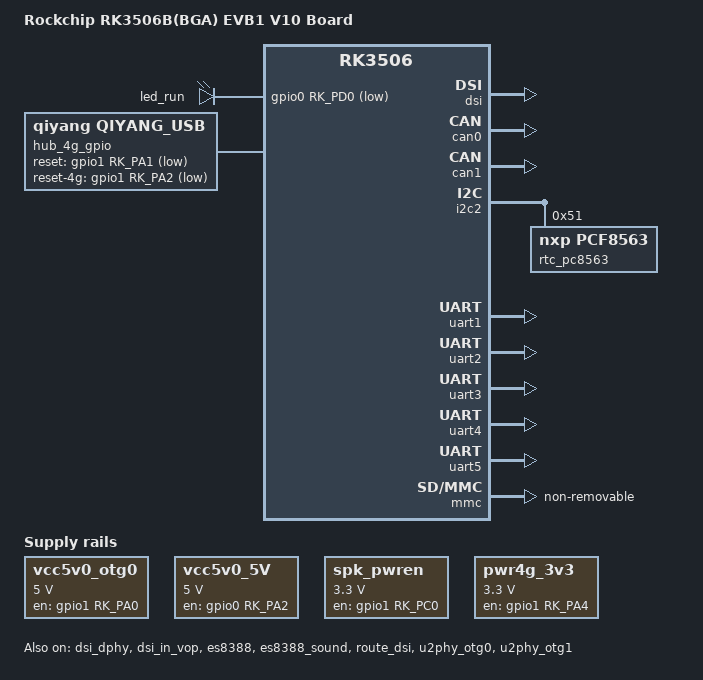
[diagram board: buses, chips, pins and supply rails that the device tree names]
// SPDX-License-Identifier: (GPL-2.0+ OR MIT)
/*
 * Copyright (c) 2024 Rockchip Electronics Co., Ltd.
 */

/dts-v1/;

#include "rk3506.dtsi"
#include "rk3506-evb1-v10.dtsi"

/ {
	model = "Rockchip RK3506B(BGA) EVB1 V10 Board";
	compatible = "rockchip,rk3506b-evb1-v10", "rockchip,rk3506";

	chosen {
		bootargs = "earlycon=uart8250,mmio32,0xff0a0000 console=ttyFIQ0 root=PARTUUID=614e0000-0000 rw rootwait snd_aloop.index=7 snd_aloop.use_raw_jiffies=1";
	};

	leds: leds {
		compatible = "gpio-leds";
		pinctrl-names = "default";
		pinctrl-0 = <&pinctrl_gpio_led>;

		run_led: run {
			label = "led_run";
			gpios = <&gpio0 RK_PD0 GPIO_ACTIVE_LOW>;
			linux,default-trigger = "heartbeat";
			default-state = "off";
		};
	};

	vcc5v0_otg0: vcc5v0-otg0-regulator {
		compatible = "regulator-fixed";
		regulator-name = "vcc5v0_otg0";
		regulator-min-microvolt = <5000000>;
		regulator-max-microvolt = <5000000>;
		enable-active-high;
		gpio = <&gpio1 RK_PA0 GPIO_ACTIVE_HIGH>;
		pinctrl-names = "default";
		pinctrl-0 = <&vcc5v0_otg0_en>;
	};

	vcc5v0_5V: vcc5v0-regulator {
		compatible = "regulator-fixed";
		regulator-name = "vcc5v0_5V";
		regulator-min-microvolt = <5000000>;
		regulator-max-microvolt = <5000000>;
		gpio = <&gpio0 RK_PA2 GPIO_ACTIVE_HIGH>;
		enable-active-high;
        regulator-always-on;
		regulator-boot-on;
	};

	spk_pwren: spk_pwren-regulator {
		compatible = "regulator-fixed";
		regulator-name = "spk_pwren";
		regulator-min-microvolt = <3300000>;
		regulator-max-microvolt = <3300000>;
		gpio = <&gpio1 RK_PC0 GPIO_ACTIVE_HIGH>;
		enable-active-high;
        regulator-always-on;
		regulator-boot-on;
	};

	pwr4g_3v3: pwr4g_3v3-regulator {
		compatible = "regulator-fixed";
		regulator-name = "pwr4g_3v3";
		regulator-min-microvolt = <3300000>;
		regulator-max-microvolt = <3300000>;
		gpio = <&gpio1 RK_PA4 GPIO_ACTIVE_HIGH>;
		enable-active-high;
        regulator-always-on;
		regulator-boot-on;
	};

	hub_4g_gpio {
		compatible = "qiyang,qiyang_usb";
		pinctrl-names = "default";
        pinctrl-0 = <&pinctrl_hub_4g>;
		reset-gpios = <&gpio1 RK_PA1 GPIO_ACTIVE_LOW>;
		reset-4g-gpios = <&gpio1 RK_PA2 GPIO_ACTIVE_LOW>;
		reset-duration = <20>;
		status = "okay";
	};

	wireless-bluetooth {
		status = "disabled";
	};

	wireless-wlan {
		status = "disabled";
	};
};

&cma {
	size = <0x1600000>;
};

&dsi {
	status = "okay";
};

&dsi_dphy {
	status = "okay";
};

&dsi_in_vop {
	status = "okay";
};

&es8388 {
	status = "okay";
};

&es8388_sound {
	status = "okay";
};

&pinctrl {
	usb {
		vcc5v0_otg0_en: vcc5v0-otg0-en {
			rockchip,pins = <1 RK_PA0 RK_FUNC_GPIO &pcfg_pull_none>;
		};

	};

	hub-4g-reset {
       pinctrl_hub_4g: pinctrl_hub_4g-reset{
           rockchip,pins =
          	<1 RK_PA1 RK_FUNC_GPIO &pcfg_pull_none>,
		  	<1 RK_PA2 RK_FUNC_GPIO &pcfg_pull_none>;
       };
	};

	leds {
		pinctrl_gpio_led: pinctrl_gpio_led {
			rockchip,pins = <0 RK_PD0 RK_FUNC_GPIO &pcfg_pull_none>;
		};
	};
};

&route_dsi {
	status = "okay";
};

&sai1 {
	status = "disabled";
};

&u2phy_otg0 {
	vbus-supply = <&vcc5v0_otg0>;
	status = "okay";
};

&u2phy_otg1 {
	status = "okay";
};

&can0 {
	pinctrl-names = "default";
    pinctrl-0 = <&rm_io13_can0_tx &rm_io12_can0_rx>;
	status = "okay";
};

&can1 {
	pinctrl-names = "default";
    pinctrl-0 = <&rm_io15_can1_tx &rm_io14_can1_rx>;
	status = "okay";
};

&i2c2 {
	rtc_pc8563: pc8563@51 {
		compatible = "nxp,pcf8563";
		reg = <0x51>;
		status = "okay";
    };
};

&uart1 {
	pinctrl-names = "default";
	pinctrl-0 = <&rm_io10_uart1_tx &rm_io9_uart1_rx>;
	rs485-de-gpios = <&gpio0 RK_PB3 GPIO_ACTIVE_HIGH>;
	linux,rs485-enabled-at-boot-time;
	rs485-rts-active-low;
	status = "okay";
};

&uart2 {
	pinctrl-names = "default";
	pinctrl-0 = <&rm_io7_uart2_tx &rm_io6_uart2_rx>;
	rs485-de-gpios = <&gpio0 RK_PB0 GPIO_ACTIVE_HIGH>;
	linux,rs485-enabled-at-boot-time;
	rs485-rts-active-low;
	status = "okay";
};

&uart3 {
	pinctrl-names = "default";
	pinctrl-0 = <&rm_io5_uart3_tx &rm_io4_uart3_rx>;
	status = "okay";
};

&uart4 {
	pinctrl-names = "default";
	pinctrl-0 = <&rm_io3_uart4_tx &rm_io0_uart4_rx>;
	status = "okay";
};

&uart5 {
	pinctrl-names = "default";
	pinctrl-0 = <&uart5m1_xfer_pins &uart5m1_ctsn_pins &uart5m1_rtsn_pins>;
	status = "okay";
};

&mmc {
	no-sd;
	non-removable;
};

&fspi {
	status = "disabled";
	flash@0 {
		status = "disabled";
	};
};
